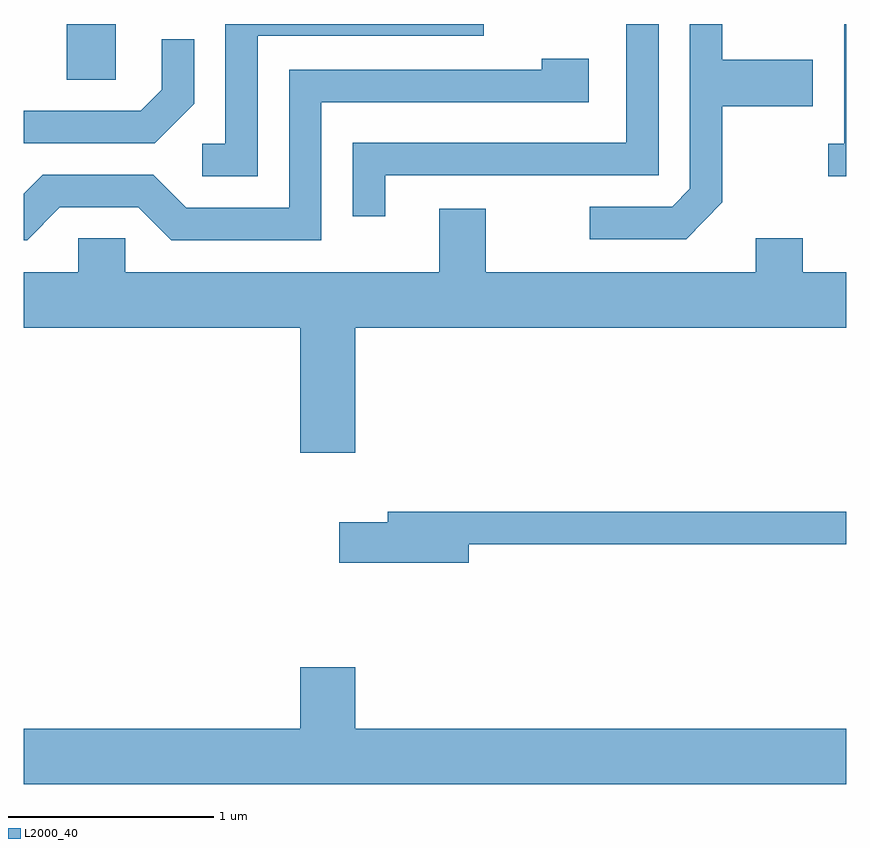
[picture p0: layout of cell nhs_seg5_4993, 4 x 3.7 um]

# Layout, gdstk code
import gdstk
lib = gdstk.Library(unit=1e-6, precision=1e-09)
def R(c, l, rs):  # rectangles x0, y0, x1, y1
    for r in rs: c.add(gdstk.rectangle(r[:2], r[2:], *l))
def P(c, l, *ps):  # polygons
    for p in ps: c.add(gdstk.Polygon(p, *l))
L2000_40 = (2000, 40)

nhs_seg5_4993 = lib.new_cell('nhs_seg5_4993')
R(nhs_seg5_4993, L2000_40, [(333.821,1435.801,334.059,1436.072)])
P(nhs_seg5_4993, L2000_40, [(337.009,1435.204),(337.009,1435.671),(337.449,1435.671),(337.449,1435.899),(337.009,1435.899),(337.009,1436.072),(336.851,1436.072),(336.851,1435.272),(336.764,1435.184),(336.363,1435.184),(336.363,1435.026),(336.832,1435.026)],
  [(335.369,1435.336),(336.699,1435.336),(336.699,1436.072),(336.541,1436.072),(336.541,1435.494),(335.211,1435.494),(335.211,1435.138),(335.369,1435.138)],
  [(337.611,1436.072),(337.601,1436.072),(337.601,1435.489),(337.523,1435.489),(337.523,1435.331),(337.611,1435.331)],
  [(334.749,1436.016),(335.848,1436.016),(335.848,1436.072),(334.591,1436.072),(334.591,1435.489),(334.478,1435.489),(334.478,1435.331),(334.749,1435.331)],
  [(334.439,1435.684),(334.439,1435.998),(334.281,1435.998),(334.281,1435.752),(334.179,1435.649),(333.611,1435.649),(333.611,1435.491),(334.247,1435.491)],
  [(333.787,1435.181),(334.169,1435.181),(334.329,1435.021),(335.059,1435.021),(335.059,1435.691),(336.359,1435.691),(336.359,1435.904),(336.131,1435.904),(336.131,1435.849),(334.901,1435.849),(334.901,1435.179),(334.402,1435.179),(334.242,1435.339),(333.704,1435.339),(333.611,1435.246),(333.611,1435.021),(333.627,1435.021)],
  [(335.224,1434.596),(337.611,1434.596),(337.611,1434.864),(337.399,1434.864),(337.399,1435.029),(337.171,1435.029),(337.171,1434.864),(335.859,1434.864),(335.859,1435.174),(335.631,1435.174),(335.631,1434.864),(334.104,1434.864),(334.104,1435.029),(333.876,1435.029),(333.876,1434.864),(333.611,1434.864),(333.611,1434.596),(334.956,1434.596),(334.956,1433.986),(335.224,1433.986)],
  [(335.774,1433.541),(337.611,1433.541),(337.611,1433.699),(335.381,1433.699),(335.381,1433.649),(335.146,1433.649),(335.146,1433.451),(335.774,1433.451)],
  [(337.611,1432.644),(335.224,1432.644),(335.224,1432.944),(334.956,1432.944),(334.956,1432.644),(333.611,1432.644),(333.611,1432.376),(337.611,1432.376)])

lib.write_gds('nhs_seg5_4993.gds')
